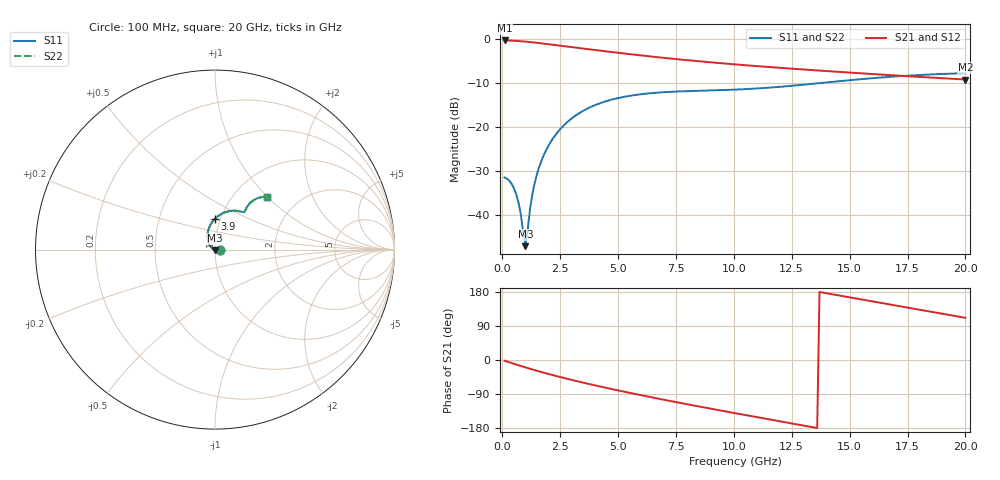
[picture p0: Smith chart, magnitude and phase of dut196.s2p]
! Created with skrf 1.9.0 (http://scikit-rf.org).
# GHz S RI R 50.0
!freq ReS11 ImS11 ReS21 ImS21 ReS12 ImS12 ReS22 ImS22
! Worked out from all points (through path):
!   200 points, 100 MHz to 20 GHz, reference 50 ohm
!   highest |S21| = -0.24 dB at 100 MHz (marker M1); lowest = -9.2 dB at 20 GHz (marker M2)
!   group delay of S21, straight-line fit = 32.9 ps
!   lowest |S11| = -47.2 dB at 1 GHz (marker M3), VSWR 1.01, Z = 49.8 - j0.383 ohm
!   |S11| at or under -10 dB: start of sweep to 13.65 GHz
!   |S22| runs from -47.2 to -7.7 dB; largest |S21 - S12| = 1.9e-15
!   S11 on the Smith chart (normalised r, x): 100 MHz: 1.05, -0.00; 3.9 GHz: 0.94, +0.34; 20 GHz: 1.40, +0.99
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0.1  0.0266 -0.00183  0.9721 -0.0341  0.9721 -0.0341  0.0266 -0.00183
0.4  0.0216 -0.00659  0.9583 -0.1345  0.9583 -0.1345  0.0216 -0.00659
0.6  0.0152 -0.008  0.9407 -0.1985  0.9407 -0.1985  0.0152 -0.008
0.7  0.0113 -0.00791  0.9297 -0.2292  0.9297 -0.2292  0.0113 -0.00791
0.8  0.00706 -0.00721  0.9173 -0.2589  0.9173 -0.2589  0.00706 -0.00721
1  -0.00212 -0.00384  0.8891 -0.3154  0.8891 -0.3154  -0.00212 -0.00384
1.2  -0.0115 0.0022  0.8569 -0.3674  0.8569 -0.3674  -0.0115 0.0022
1.3  -0.016 0.00619  0.8395 -0.3917  0.8395 -0.3917  -0.016 0.00619
1.5  -0.0244 0.0159  0.8029 -0.4368  0.8029 -0.4368  -0.0244 0.0159
1.8  -0.0344 0.0341  0.7444 -0.4962  0.7444 -0.4962  -0.0344 0.0341
2.1  -0.0403 0.0552  0.6833 -0.5463  0.6833 -0.5463  -0.0403 0.0552
2.5  -0.0415 0.0852  0.6 -0.5998  0.6 -0.5998  -0.0415 0.0852
3.5  -0.0161 0.1528  0.3945 -0.6795  0.3945 -0.6795  -0.0161 0.1528
3.9  0.00125 0.1732  0.3162 -0.6937  0.3162 -0.6937  0.00125 0.1732
5.2  0.0635 0.2105  0.0859 -0.6882  0.0859 -0.6882  0.0635 0.2105
6.8  0.1225 0.2159  -0.1379 -0.6075  -0.1379 -0.6075  0.1225 0.2159
8.4  0.1525 0.2095  -0.2966 -0.4822  -0.2966 -0.4822  0.1525 0.2095
10.1  0.1647 0.2113  -0.4015 -0.3268  -0.4015 -0.3268  0.1647 0.2113
11.7  0.1722 0.2258  -0.4472 -0.1749  -0.4472 -0.1749  0.1722 0.2258
13.4  0.1868 0.2493  -0.4458 -0.021  -0.4458 -0.021  0.1868 0.2493
16.7  0.2391 0.2869  -0.3283 0.2141  -0.3283 0.2141  0.2391 0.2869
20  0.2879 0.2949  -0.1269 0.3248  -0.1269 0.3248  0.2879 0.2949
